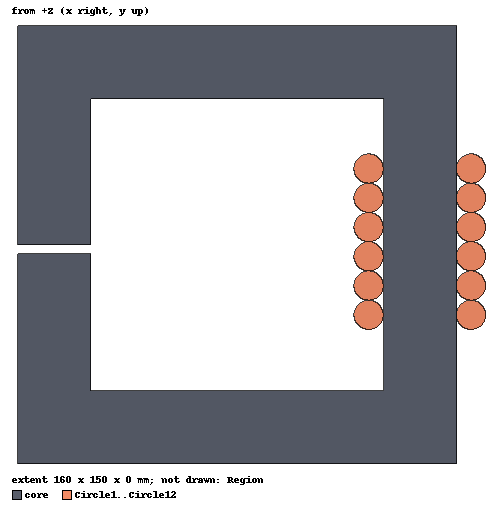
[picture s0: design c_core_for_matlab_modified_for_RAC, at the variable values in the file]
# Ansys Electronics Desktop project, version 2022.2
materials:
  vacuum: permittivity=1
  copper: permeability=0.999991 conductivity=58000000
  Cogent Power - M270-50A, B-H at 50Hz: core_loss_curve{50Hz (0, 0) (0.05, 0.01) (0.1, 0.02) (0.15, 0.045) (0.2, 0.07) (0.25, 0.105) (0.3, 0.14) (0.35, 0.185) (0.4, 0.23) (0.45, 0.28) (0.5, 0.33) (0.55, 0.39) (0.6, 0.45) (0.65, 0.515) (0.7, 0.58) (0.75, 0.655) (0.8, 0.73) (0.85, 0.815) (0.9, 0.9) (0.95, 0.985) (1, 1.07) (1.05, 1.17) (1.1, 1.27) (1.15, 1.385) (1.2, 1.5) (1.25, 1.63) (1.3, 1.76) (1.35, 1.945) (1.4, 2.13) (1.45, 2.325) (1.5, 2.52) (1.55, 2.695) (1.6, 2.87) (1.65, 3) (1.7, 3.13) (1.75, 3.25) (1.8, 3.37)} core_loss_curve{100Hz (0, 0) (0.05, 0.02) (0.1, 0.04) (0.15, 0.105) (0.2, 0.17) (0.25, 0.26) (0.3, 0.35) (0.35, 0.465) (0.4, 0.58) (0.45, 0.715) (0.5, 0.85) (0.55, 1.005) (0.6, 1.16) (0.65, 1.335) (0.7, 1.51) (0.75, 1.705) (0.8, 1.9) (0.85, 2.115) (0.9, 2.33) (0.95, 2.57) (1, 2.81) (1.05, 3.085) (1.1, 3.36) (1.15, 3.67) (1.2, 3.98) (1.25, 4.345) (1.3, 4.71) (1.35, 5.165) (1.4, 5.62) (1.45, 6.155) (1.5, 6.69) (1.55, 7.225) (1.6, 7.76) (1.65, 8.295) (1.7, 8.83) (1.75, 9.365) (1.8, 9.9)} core_loss_curve{200Hz (0, 0) (0.05, 0.05) (0.1, 0.1) (0.15, 0.265) (0.2, 0.43) (0.25, 0.67) (0.3, 0.91) (0.35, 1.21) (0.4, 1.51) (0.45, 1.875) (0.5, 2.24) (0.55, 2.665) (0.6, 3.09) (0.65, 3.58) (0.7, 4.07) (0.75, 4.63) (0.8, 5.19) (0.85, 5.83) (0.9, 6.47) (0.95, 7.205) (1, 7.94) (1.05, 8.775) (1.1, 9.61) (1.15, 10.555) (1.2, 11.5) (1.25, 12.55) (1.3, 13.6) (1.35, 14.95) (1.4, 16.3) (1.45, 17.75) (1.5, 19.2) (1.55, 20.65) (1.6, 22.1) (1.65, 23.55) (1.7, 25) (1.75, 26.45) (1.8, 27.9)} core_loss_curve{400Hz (0, 0) (0.05, 0.145) (0.1, 0.29) (0.15, 0.72) (0.2, 1.15) (0.25, 1.815) (0.3, 2.48) (0.35, 3.325) (0.4, 4.17) (0.45, 5.205) (0.5, 6.24) (0.55, 7.495) (0.6, 8.75) (0.65, 10.225) (0.7, 11.7) (0.75, 13.45) (0.8, 15.2) (0.85, 17.25) (0.9, 19.3) (0.95, 21.7) (1, 24.1) (1.05, 26.9) (1.1, 29.7) (1.15, 32.85) (1.2, 36) (1.25, 39.65) (1.3, 43.3) (1.35, 47.6) (1.4, 51.9) (1.45, 56.9) (1.5, 61.9) (1.55, 66.9) (1.6, 71.9) (1.65, 76.9) (1.7, 81.9) (1.75, 86.9) (1.8, 91.9)} core_loss_curve{1000Hz (0, 0) (0.05, 0.7) (0.1, 1.4) (0.15, 3.205) (0.2, 5.01) (0.25, 7.605) (0.3, 10.2) (0.35, 13.7) (0.4, 17.2) (0.45, 21.65) (0.5, 26.1) (0.55, 31.75) (0.6, 37.4) (0.65, 44.4) (0.7, 51.4) (0.75, 60.05) (0.8, 68.7) (0.85, 79.15) (0.9, 89.6) (0.95, 102.3) (1, 115) (1.05, 130) (1.1, 145) (1.15, 160) (1.2, 175) (1.25, 190) (1.3, 205) (1.35, 220) (1.4, 235) (1.45, 250) (1.5, 265) (1.55, 280) (1.6, 295) (1.65, 310) (1.7, 325) (1.75, 340) (1.8, 355)} permeability{HUnit=A_per_meter BUnit=tesla curve (0, 0) (5, 0.00848205) (10, 0.0186535) (20, 0.0452376) (31.5, 0.1) (42, 0.2) (49.4, 0.3) (56.1, 0.4) (63.1, 0.5) (70.7, 0.6) (79.5, 0.7) (90.1, 0.8) (103, 0.9) (121, 1) (145, 1.1) (185, 1.2) (273, 1.3) (557, 1.4) (1520, 1.5) (3560, 1.6) (6730, 1.7) (11400, 1.8) (20000, 1.89285) (40000, 2.0116) (75000, 2.11928) (130000, 2.21351) (236790, 2.3745) (431300, 2.6336) (785590, 3.0869) (1430900, 3.9022)} conductivity=1818180 core_loss_type="Electrical Steel" core_loss_kh=216.205 core_loss_kc=0.595593 core_loss_ke=2.66671 mass_density=7650
  ferrite - Copy: permittivity=12 permeability=3000 conductivity=0.01

design c_core_for_matlab_modified_for_RAC (Maxwell 2D, EddyCurrent, XY geometry, model units mm)
options: ModelDepth=50mm
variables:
  N = 100
  I = 25A
  g = 3mm
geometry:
  core [ferrite - Copy] = rectangle(corner=(0mm, 0mm, 0mm), x_size=150mm, y_size=150mm)
  Rectangle2 = rectangle(corner=(25mm, 25mm, 0mm), x_size=100mm, y_size=100mm)
  core.subtract(Rectangle2)
  core.move(0mm, -75mm, 0mm)
  core.move(-150mm, 0mm, 0mm)
  Rectangle3 = rectangle(corner=(0mm, 0mm, 0mm), x_size=-25mm, y_size=-g)
  core.subtract(Rectangle3)
  core.mirror(point=(0mm, 0mm, 0mm), normal=(1mm, 0mm, 0mm))
  Region [vacuum] = region(percentage_offset: +X=100, -X=100, +Y=100, -Y=100, +Z=0, -Z=0)
  air_gap [vacuum, non-model] = rectangle(corner=(35mm, 0mm, 0mm), x_size=-45mm, y_size=-3mm)
  air_gap_line = polyline((35mm, -1.5mm, 0mm) (-10mm, -1.5mm, 0mm))
  Circle1 [copper] = circle(normal=Z, centre=(120mm, 26mm, 0mm), radius=5mm)
  Circle2..Circle6 [copper] = Circle1.duplicate_along_line(step=(0mm, -10mm, 0mm), total=6)
  Circle7 [copper] = Circle1.duplicate_mirror(point=(137.5mm, 0mm, 0mm), normal=(1mm, 0mm, 0mm))
  Circle8 [copper] = Circle2.duplicate_mirror(point=(137.5mm, 0mm, 0mm), normal=(1mm, 0mm, 0mm))
  Circle9 [copper] = Circle3.duplicate_mirror(point=(137.5mm, 0mm, 0mm), normal=(1mm, 0mm, 0mm))
  Circle10 [copper] = Circle4.duplicate_mirror(point=(137.5mm, 0mm, 0mm), normal=(1mm, 0mm, 0mm))
  Circle11 [copper] = Circle5.duplicate_mirror(point=(137.5mm, 0mm, 0mm), normal=(1mm, 0mm, 0mm))
  Circle12 [copper] = Circle6.duplicate_mirror(point=(137.5mm, 0mm, 0mm), normal=(1mm, 0mm, 0mm))
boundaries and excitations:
  Balloon1: Balloon Edges=Region.edge(all 4)
  Current_1: Current Objects=Circle1 Phase=0deg Current=I IsSolid=true IsPositive=true
  Current_2: Current Objects=Circle2 Phase=0deg Current=I IsSolid=true IsPositive=true
  Current_3: Current Objects=Circle3 Phase=0deg Current=I IsSolid=true IsPositive=true
  Current_4: Current Objects=Circle4 Phase=0deg Current=I IsSolid=true IsPositive=true
  Current_5: Current Objects=Circle5 Phase=0deg Current=I IsSolid=true IsPositive=true
  Current_6: Current Objects=Circle6 Phase=0deg Current=I IsSolid=true IsPositive=true
  Current_7: Current Objects=Circle7 Phase=0deg Current=I IsSolid=true IsPositive=false
  Current_8: Current Objects=Circle8 Phase=0deg Current=I IsSolid=true IsPositive=false
  Current_9: Current Objects=Circle9 Phase=0deg Current=I IsSolid=true IsPositive=false
  Current_10: Current Objects=Circle10 Phase=0deg Current=I IsSolid=true IsPositive=false
  Current_11: Current Objects=Circle11 Phase=0deg Current=I IsSolid=true IsPositive=false
  Current_12: Current Objects=Circle12 Phase=0deg Current=I IsSolid=true IsPositive=false
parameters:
  Matrix1: Matrix Current_1..Current_12:
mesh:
  Copper: LengthBased RefineInside Objects=[Circle1..Circle12] MaxLength=150um
  Core: LengthBased RefineInside Objects=core MaxLength=1mm
  Air: LengthBased RefineInside Objects=air_gap MaxLength=0.1mm
  initial mesh: MeshMethod=AnsoftTAU
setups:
  Setup1: EddyCurrent MaximumPasses=10 MinimumPasses=2 MinimumConvergedPasses=1 PercentRefinement=40 PercentError=0.01 NonLinearResidual=0.0001 Frequency=10kHz
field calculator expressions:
  AC_resistance_1 = J_Vector | J_Vector | Dot | 1.724e-08 | * | EnterSurface(Circle1) | SurfaceValue | Integrate | 0.111111111111111 | *
  AC_resistance_2 = J_Vector | J_Vector | Dot | 1.724e-08 | * | EnterSurface(Circle2) | SurfaceValue | Integrate | 0.111111111111111 | *
  AC_resistance_3 = J_Vector | J_Vector | Dot | 1.724e-08 | * | EnterSurface(Circle3) | SurfaceValue | Integrate | 0.111111111111111 | *
  AC_resistance_4 = J_Vector | J_Vector | Dot | 1.724e-08 | * | EnterSurface(Circle4) | SurfaceValue | Integrate | 0.111111111111111 | *
  AC_resistance_5 = J_Vector | J_Vector | Dot | 1.724e-08 | * | EnterSurface(Circle5) | SurfaceValue | Integrate | 0.111111111111111 | *
  AC_resistance_6 = J_Vector | J_Vector | Dot | 1.724e-08 | * | EnterSurface(Circle6) | SurfaceValue | Integrate | 0.111111111111111 | *
  AC_resistance_7 = J_Vector | J_Vector | Dot | 1.724e-08 | * | EnterSurface(Circle7) | SurfaceValue | Integrate | 0.111111111111111 | *
  AC_resistance_8 = J_Vector | J_Vector | Dot | 1.724e-08 | * | EnterSurface(Circle8) | SurfaceValue | Integrate | 0.111111111111111 | *
  AC_resistance_9 = J_Vector | J_Vector | Dot | 1.724e-08 | * | EnterSurface(Circle9) | SurfaceValue | Integrate | 0.111111111111111 | *
  AC_resistance_10 = J_Vector | J_Vector | Dot | 1.724e-08 | * | EnterSurface(Circle10) | SurfaceValue | Integrate | 0.111111111111111 | *
  AC_resistance_11 = J_Vector | J_Vector | Dot | 1.724e-08 | * | EnterSurface(Circle11) | SurfaceValue | Integrate | 0.111111111111111 | *
  AC_resistance_12 = J_Vector | J_Vector | Dot | 1.724e-08 | * | EnterSurface(Circle12) | SurfaceValue | Integrate | 0.111111111111111 | *
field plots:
  JAtPhase1: J over Circle1..Circle6 on Setup1 : LastAdaptive at Freq=10kHz Phase=0deg
  JAtPhase2: J over Circle7..Circle12 on Setup1 : LastAdaptive at Freq=10kHz Phase=0deg
  Mag_B1: B on Setup1 : LastAdaptive at Freq=10kHz Phase=0deg
